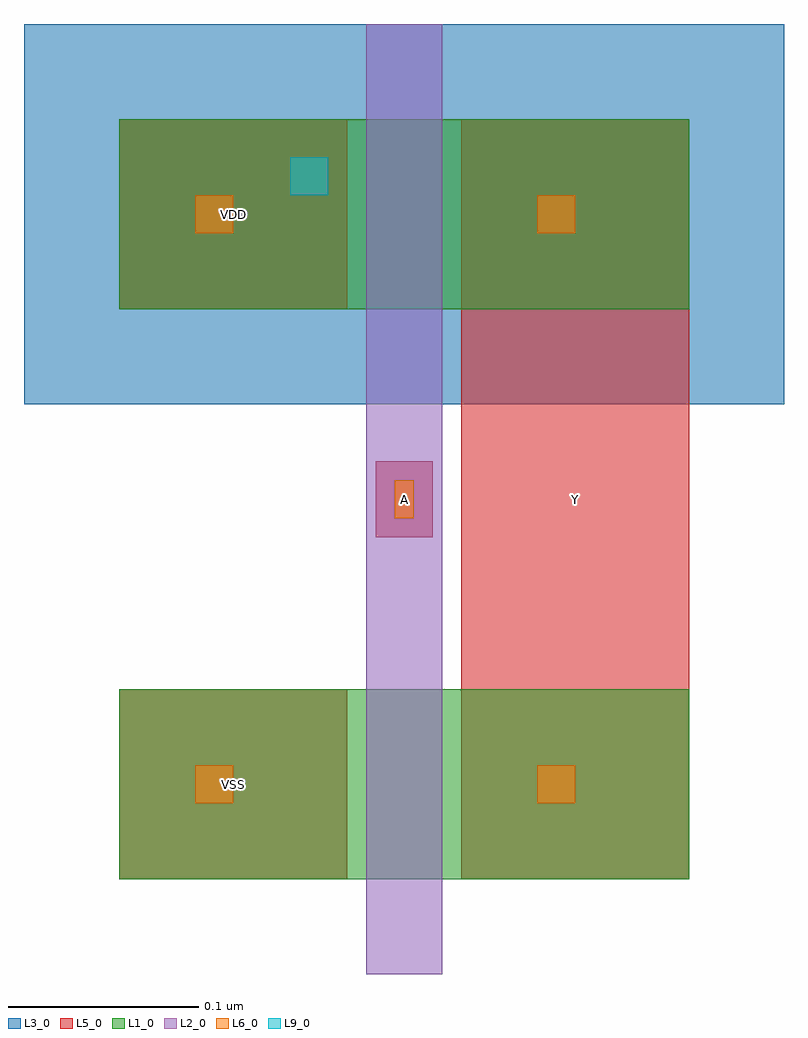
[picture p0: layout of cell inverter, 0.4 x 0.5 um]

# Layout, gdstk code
import gdstk
lib = gdstk.Library(unit=1e-6, precision=1e-09)
def R(c, l, rs):  # rectangles x0, y0, x1, y1
    for r in rs: c.add(gdstk.rectangle(r[:2], r[2:], *l))
L1_0 = (1, 0)
L2_0 = (2, 0)
L3_0 = (3, 0)
L5_0 = (5, 0)
L6_0 = (6, 0)
L9_0 = (9, 0)

inverter = lib.new_cell('inverter')
R(inverter, L1_0, [(0,0,0.3,0.1), (0,0.3,0.3,0.4)])
R(inverter, L2_0, [(0.13,-0.05,0.17,0.45)])
R(inverter, L3_0, [(-0.05,0.25,0.35,0.45)])
R(inverter, L5_0, [(0,0,0.12,0.1), (0.18,0,0.3,0.4), (0.135,0.18,0.165,0.22), (0,0.3,0.12,0.4)])
R(inverter, L6_0, [(0.04,0.04,0.06,0.06), (0.22,0.04,0.24,0.06), (0.145,0.19,0.155,0.21), (0.04,0.34,0.06,0.36), (0.22,0.34,0.24,0.36)])
R(inverter, L9_0, [(0.09,0.36,0.11,0.38)])
inverter.add(gdstk.Label('VSS', (0.06,0.05), layer=8, texttype=0))
inverter.add(gdstk.Label('VDD', (0.06,0.35), layer=8, texttype=0))
inverter.add(gdstk.Label('Y', (0.24,0.2), layer=8, texttype=0))
inverter.add(gdstk.Label('A', (0.15,0.2), layer=8, texttype=0))

lib.write_gds('inverter.gds')
